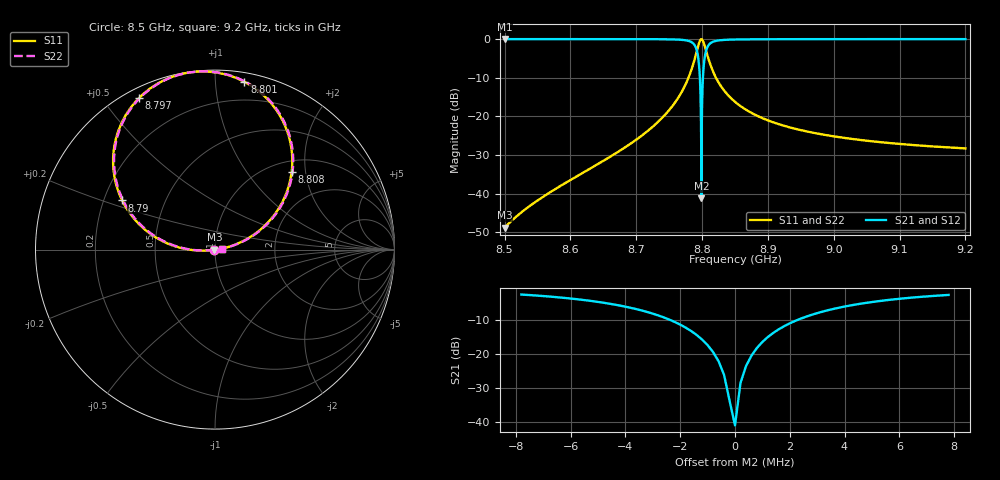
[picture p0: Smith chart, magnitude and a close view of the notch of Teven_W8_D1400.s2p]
! Sonnet Data File
! From: emgraph Version : 16.52
! From Project: transmon_brg
! Data is De-embedded
! Data File Written: 11/11/2017 22:44:25
!< HDATE 11/11/2017 16:55:33
!< MDATE 11/11/2017 17:38:18
!< PARAMS
!< Lj = 15.24
!< Gap = 6.0
!< Width = 10.0
!< Airgap = 6.0
!< Pwidth = 2000.0
!< Dist = 1400.0
!< END PARAMS
# GHZ S MA R 51.80000
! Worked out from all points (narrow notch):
!   3501 points, 8.5 GHz to 9.2 GHz, reference 51.8 ohm
!   highest |S21| = 0.00 dB at 8.5 GHz (marker M1); lowest = -41.1 dB at 8.799 GHz (marker M2)
!   notch at M2: 41.1 dB deep, 1.32 MHz wide at half that depth
!   lowest |S11| = -48.8 dB at 8.5 GHz (marker M3), VSWR 1.01, Z = 51.4 - j0.0683 ohm
!   |S11| at or under -10 dB: start of sweep to 8.779 GHz; 8.821 GHz to end of sweep
!   |S22| runs from -48.8 to 0.0 dB; largest |S21 - S12| = 0
!   S11 on the Smith chart (normalised r, x): 8.5 GHz: 0.99, -0.00; 8.79 GHz: 0.28, +0.23; 8.797 GHz: 0.04, +0.62; 8.801 GHz: 0.06, +1.19; 8.808 GHz: 1.22, +1.68; 9.2 GHz: 1.08, +0.01
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8.5  0.003645 -169.5  1 -79.8  1 -79.8  0.003645 -170.2
!< P1 F=8.5 Eeff=(6.44695349 -2.9785e-5) Z0=(51.7999087 1.19092e-4) R=0.0 C=0.0
!< P2 F=8.5 Eeff=(6.44695349 -2.9785e-5) Z0=(51.7999087 1.19092e-4) R=0.0 C=0.0
8.5466  0.007818 -170.2  1 -80.5  1 -80.5  0.007818 -170.8
8.6168  0.01825 -171.4  0.9998 -81.7  0.9998 -81.7  0.01825 -172.0
8.689  0.04306 -173.5  0.9991 -83.8  0.9991 -83.8  0.04306 -174.1
8.7334  0.08545 -176.4  0.9963 -86.7  0.9963 -86.7  0.08545 -177.0
8.7582  0.1485 179.7  0.9888 -90.5  0.9888 -90.5  0.1485 179.1
8.7762  0.274 172.2  0.9615 -98.1  0.9615 -98.1  0.274 171.6
8.7842  0.4106 163.8  0.9113 -106.5  0.9113 -106.5  0.4106 163.1
8.7896  0.5853 152.1  0.8097 -118.1  0.8097 -118.1  0.5853 151.5
8.7938  0.7979 134.8  0.6 -135.3  0.6 -135.3  0.7979 134.2
8.7966  0.9447 116.7  0.3209 -153.2  0.3209 -153.2  0.9447 116.1
8.799  0.9974 97.4  0.008769 -9.7  0.008769 -9.7  0.9974 96.8
8.8012  0.9494 80.0  0.3068 -10.7  0.3068 -10.7  0.9494 79.4
8.804  0.811 62.3  0.5823 -28.2  0.5823 -28.2  0.811 61.7
8.8082  0.6096 45.5  0.7916 -44.9  0.7916 -44.9  0.6096 44.9
8.8134  0.4473 34.4  0.8938 -55.9  0.8938 -55.9  0.4473 33.8
8.8206  0.3226 26.6  0.9463 -63.8  0.9463 -63.8  0.3226 26.0
8.85  0.1545 16.4  0.9879 -74.0  0.9879 -74.0  0.1545 15.7
8.8968  0.09111 12.2  0.9958 -78.1  0.9958 -78.1  0.09111 11.6
8.9668  0.06196 9.9  0.9981 -80.4  0.9981 -80.4  0.06196 9.3
9.0834  0.04537 7.9  0.999 -82.4  0.999 -82.4  0.04537 7.3
9.2  0.03859 6.4  0.9993 -83.9  0.9993 -83.9  0.03859 5.8
